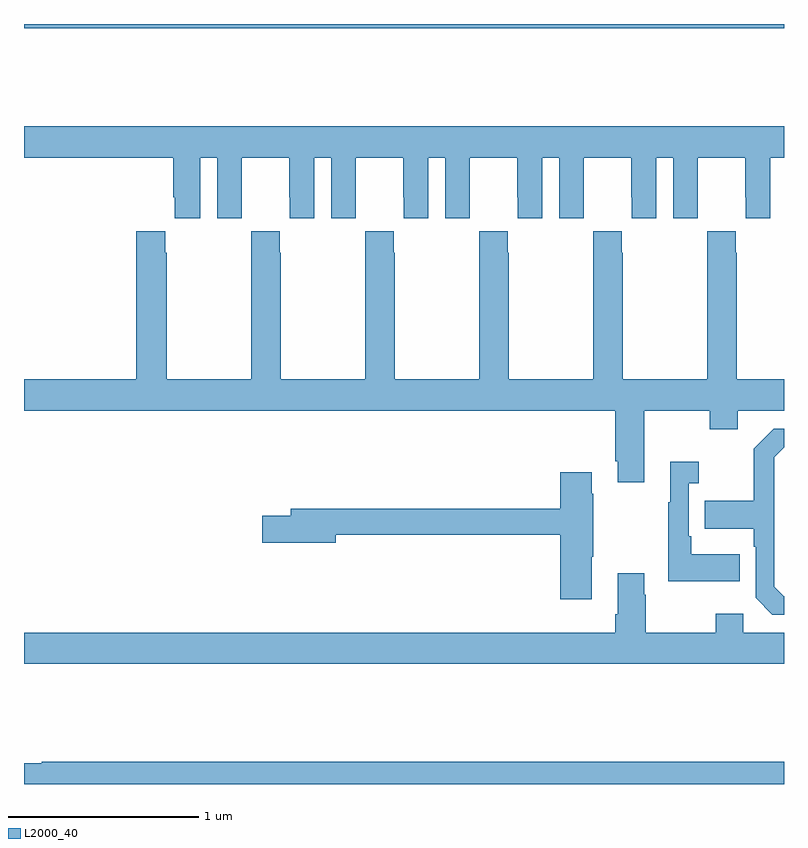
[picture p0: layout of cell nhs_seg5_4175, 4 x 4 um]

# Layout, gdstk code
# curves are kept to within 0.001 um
import gdstk
lib = gdstk.Library(unit=1e-6, precision=1e-09)
def R(c, l, rs):  # rectangles x0, y0, x1, y1
    for r in rs: c.add(gdstk.rectangle(r[:2], r[2:], *l))
def P(c, l, *ps):  # polygons
    for p in ps: c.add(gdstk.Polygon(p, *l))
L2000_40 = (2000, 40)

nhs_seg5_4175 = lib.new_cell('nhs_seg5_4175')
R(nhs_seg5_4175, L2000_40, [(357,854.776,361,854.799)])
P(nhs_seg5_4175, L2000_40, [(357.928,854.096),(358.016,854.096),(358.016,853.776),(358.146,853.776),(358.146,853.888),(358.147,853.888),(358.147,854.096),(358.397,854.096),(358.397,853.888),(358.398,853.888),(358.398,853.776),(358.528,853.776),(358.528,854.096),(358.616,854.096),(358.616,853.776),(358.746,853.776),(358.746,853.888),(358.747,853.888),(358.747,854.096),(358.997,854.096),(358.997,853.888),(358.998,853.888),(358.998,853.776),(359.128,853.776),(359.128,854.096),(359.216,854.096),(359.216,853.776),(359.346,853.776),(359.346,853.888),(359.347,853.888),(359.347,854.096),(359.597,854.096),(359.597,853.888),(359.598,853.888),(359.598,853.776),(359.728,853.776),(359.728,854.096),(359.816,854.096),(359.816,853.776),(359.946,853.776),(359.946,853.888),(359.947,853.888),(359.947,854.096),(360.197,854.096),(360.197,853.888),(360.198,853.888),(360.198,853.776),(360.328,853.776),(360.328,854.096),(360.416,854.096),(360.416,853.776),(360.546,853.776),(360.546,853.888),(360.547,853.888),(360.547,854.096),(360.797,854.096),(360.797,853.888),(360.798,853.888),(360.798,853.776),(360.928,853.776),(360.928,854.096),(361,854.096),(361,854.26),(357,854.26),(357,854.096),(357.785,854.096),(357.785,853.888),(357.794,853.888),(357.794,853.776),(357.928,853.776)],
  [(360.265,852.764),(360.61,852.764),(360.61,852.665),(360.757,852.665),(360.757,852.764),(361,852.764),(361,852.928),(360.75,852.928),(360.75,853.595),(360.747,853.595),(360.747,853.708),(360.597,853.708),(360.597,853.595),(360.595,853.595),(360.595,852.928),(360.15,852.928),(360.15,853.595),(360.147,853.595),(360.147,853.708),(359.997,853.708),(359.997,853.595),(359.995,853.595),(359.995,852.928),(359.55,852.928),(359.55,853.595),(359.547,853.595),(359.547,853.708),(359.397,853.708),(359.397,853.595),(359.395,853.595),(359.395,852.928),(358.95,852.928),(358.95,853.595),(358.947,853.595),(358.947,853.708),(358.797,853.708),(358.797,853.595),(358.795,853.595),(358.795,852.928),(358.35,852.928),(358.35,853.595),(358.347,853.595),(358.347,853.708),(358.197,853.708),(358.197,853.595),(358.195,853.595),(358.195,852.928),(357.75,852.928),(357.75,853.595),(357.743,853.595),(357.743,853.708),(357.59,853.708),(357.59,852.928),(357,852.928),(357,852.764),(360.113,852.764),(360.113,852.499),(360.125,852.499),(360.125,852.387),(360.265,852.387)],
  [(361,851.787),(360.948,851.838),(360.948,852.519),(361,852.571),(361,852.669),(360.945,852.669),(360.84,852.563),(360.84,852.291),(360.583,852.291),(360.583,852.143),(360.84,852.143),(360.84,852.047),(360.852,852.047),(360.852,851.778),(360.939,851.691),(361,851.691)],
  [(360.767,852.007),(360.511,852.007),(360.511,852.103),(360.498,852.103),(360.498,852.383),(360.55,852.383),(360.55,852.496),(360.401,852.496),(360.401,852.283),(360.39,852.283),(360.39,851.867),(360.767,851.867)],
  [(359.989,851.995),(359.997,851.995),(359.997,852.326),(359.989,852.326),(359.989,852.439),(359.822,852.439),(359.822,852.248),(358.403,852.248),(358.403,852.212),(358.254,852.212),(358.254,852.07),(358.642,852.07),(358.642,852.112),(359.822,852.112),(359.822,851.772),(359.989,851.772)],
  [(361,851.596),(360.786,851.596),(360.786,851.695),(360.64,851.695),(360.64,851.596),(360.273,851.596),(360.273,851.795),(360.265,851.795),(360.265,851.908),(360.125,851.908),(360.125,851.692),(360.113,851.692),(360.113,851.596),(357,851.596),(357,851.432),(361,851.432)],
  [(361,850.916),(357.094,850.916),(357.094,850.909),(357,850.909),(357,850.799),(361,850.799)])

lib.write_gds('nhs_seg5_4175.gds')
